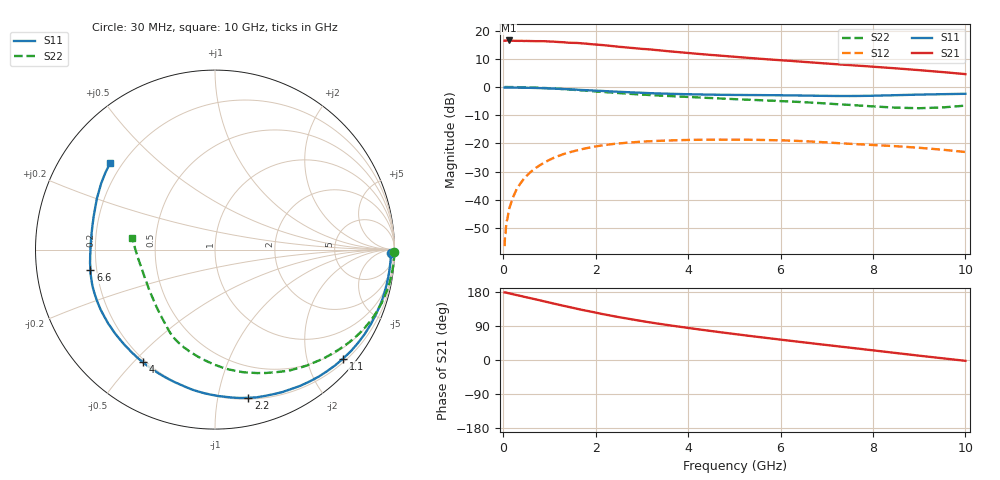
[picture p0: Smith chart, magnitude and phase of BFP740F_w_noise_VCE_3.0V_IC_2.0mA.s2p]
! Infineon Technologies  Discrete & RF Semiconductors
! BFP740F
! VCE =  3.0 V,  IC =  2.0 mA
! Common Emitter S-Parameters:  Oct 2012
# GHz  S  MA  R  50
!  f  S11  S21  S12  S22
! GHz  MAG  ANG  MAG  ANG  MAG  ANG  MAG  ANG
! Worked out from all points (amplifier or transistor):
!   99 points, 30 MHz to 10 GHz, reference 50 ohm
!   highest |S21| = 16.5 dB at 120 MHz (marker M1)
!   |S21| within 3 dB of that: start of sweep to 3.015 GHz
!   unconditionally stable (mu >= 1): 9.429 GHz to end of sweep
!   at 350 MHz: K = 0.01, MSG = 25.6 dB, |S12| = -34.8 dB
!   at 3.5 GHz: K = 0.22, MSG = 15.9 dB, |S12| = -19.0 dB
!   at 10 GHz: K = 1.10, MAG = 11.9 dB, |S12| = -23.1 dB
!   lowest NFmin = 0.37 dB at 450 MHz
!   S11 on the Smith chart (normalised r, x): 30 MHz: 52, -49; 1.1 GHz: 0.27, -2.69; 2.2 GHz: 0.21, -1.23; 4 GHz: 0.19, -0.53; 6.6 GHz: 0.17, -0.08; 10 GHz: 0.16, +0.35
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0.03  0.98 -1.1  6.632 178.4  0.0015 97.1  0.9991 -0.8
0.04  0.9802 -1.5  6.619 178.2  0.0024 85.4  0.9994 -1.0
0.07  0.9801 -2.6  6.677 177.6  0.004 88.7  0.9995 -1.8
0.12  0.9793 -4.5  6.703 176.2  0.0062 87.9  0.9985 -3.0
0.3  0.9758 -11.1  6.591 171.1  0.016 82.7  0.9946 -7.6
0.45  0.9725 -16.6  6.555 166.9  0.0238 79.3  0.9893 -11.3
0.8  0.9574 -29.5  6.512 157.3  0.0413 70.2  0.9681 -20.1
1.1  0.9372 -40.4  6.378 148.7  0.0557 62.4  0.9406 -27.7
1.3  0.9212 -47.4  6.234 143.2  0.0643 57.4  0.9185 -32.6
1.7  0.8853 -61.3  5.959 132.4  0.0789 48.0  0.8705 -42.1
2.2  0.8465 -77.3  5.496 120.0  0.0934 36.9  0.8127 -53.8
2.8  0.8027 -94.1  4.925 106.9  0.1045 25.5  0.7513 -65.8
3.4  0.767 -109.3  4.462 95.1  0.1111 15.8  0.7041 -76.2
4  0.7444 -122.8  4.021 84.6  0.115 7.4  0.6665 -84.7
4.6  0.7298 -135.4  3.66 74.9  0.1163 -0.2  0.6309 -92.4
5.1  0.7238 -145.2  3.389 67.1  0.1163 -6.2  0.605 -98.8
5.8  0.716 -157.3  3.071 56.7  0.1141 -14.2  0.5725 -107.4
6.6  0.7038 -170.6  2.76 45.2  0.1084 -23.0  0.5328 -117.0
6.7  0.7012 -172.2  2.719 43.8  0.1074 -24.0  0.5275 -118.1
7.5  0.6927 174.2  2.45 32.6  0.0983 -30.4  0.4813 -127.9
8.5  0.7168 156.7  2.144 18.4  0.0891 -37.4  0.4306 -148.0
10  0.758 140.3  1.695 -2.2  0.0703 -46.7  0.4676 171.8
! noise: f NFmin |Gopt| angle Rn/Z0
0.45  0.37  0.55  9  0.3
0.9  0.44  0.56  17  0.26
1.5  0.55  0.55  27  0.24
1.9  0.63  0.52  37  0.24
2.4  0.73  0.49  45  0.24
3.5  0.95  0.44  70  0.23
5.5  1.33  0.35  115  0.23
10  2.08  0.52  -136  0.1
